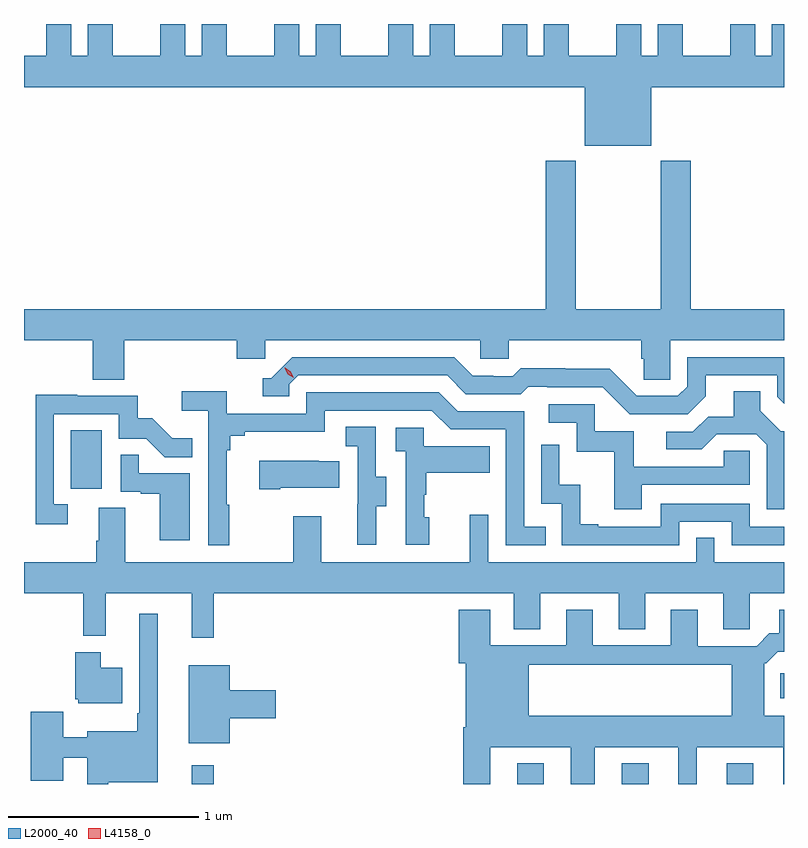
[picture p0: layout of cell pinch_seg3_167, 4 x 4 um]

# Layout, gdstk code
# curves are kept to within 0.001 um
import gdstk
lib = gdstk.Library(unit=1e-6, precision=1e-09)
def R(c, l, rs):  # rectangles x0, y0, x1, y1
    for r in rs: c.add(gdstk.rectangle(r[:2], r[2:], *l))
def A(c, l, x, y, w, h, nx, ny, dx, dy):  # array of equal rectangles
    R(c, l, [(x+i*dx, y+j*dy, x+i*dx+w, y+j*dy+h) for i in range(nx) for j in range(ny)])
def P(c, l, *ps):  # polygons
    for p in ps: c.add(gdstk.Polygon(p, *l))
L2000_40 = (2000, 40)
L4158_0 = (4158, 0)

pinch_seg3_167 = lib.new_cell('pinch_seg3_167')
A(pinch_seg3_167, L2000_40, 1107.839, 706.572, 0.14, 0.109, 3, 1, 0.552, 0)
R(pinch_seg3_167, L2000_40, [(1106.126,706.572,1106.243,706.672), (1109.225,707.024,1109.244,707.154), (1105.49,708.126,1105.654,708.433)])
P(pinch_seg3_167, L2000_40, [(1108.546,710.24),(1109.244,710.24),(1109.244,710.572),(1109.18,710.572),(1109.18,710.404),(1109.092,710.404),(1109.092,710.572),(1108.961,710.572),(1108.961,710.404),(1108.711,710.404),(1108.711,710.572),(1108.58,710.572),(1108.58,710.404),(1108.492,710.404),(1108.492,710.572),(1108.361,710.572),(1108.361,710.404),(1108.111,710.404),(1108.111,710.572),(1107.98,710.572),(1107.98,710.404),(1107.892,710.404),(1107.892,710.572),(1107.761,710.572),(1107.761,710.404),(1107.511,710.404),(1107.511,710.572),(1107.38,710.572),(1107.38,710.404),(1107.292,710.404),(1107.292,710.572),(1107.161,710.572),(1107.161,710.404),(1106.911,710.404),(1106.911,710.572),(1106.78,710.572),(1106.78,710.404),(1106.692,710.404),(1106.692,710.572),(1106.561,710.572),(1106.561,710.404),(1106.311,710.404),(1106.311,710.572),(1106.18,710.572),(1106.18,710.404),(1106.092,710.404),(1106.092,710.572),(1105.961,710.572),(1105.961,710.404),(1105.711,710.404),(1105.711,710.572),(1105.58,710.572),(1105.58,710.404),(1105.492,710.404),(1105.492,710.572),(1105.361,710.572),(1105.361,710.404),(1105.244,710.404),(1105.244,710.24),(1108.196,710.24),(1108.196,709.931),(1108.546,709.931)],
  [(1105.772,708.908),(1106.363,708.908),(1106.363,708.81),(1106.514,708.81),(1106.514,708.908),(1107.645,708.908),(1107.645,708.81),(1107.795,708.81),(1107.795,708.908),(1108.493,708.908),(1108.493,708.81),(1108.507,708.81),(1108.507,708.7),(1108.644,708.7),(1108.644,708.908),(1109.244,708.908),(1109.244,709.072),(1108.754,709.072),(1108.754,709.852),(1108.594,709.852),(1108.594,709.072),(1108.149,709.072),(1108.149,709.852),(1107.989,709.852),(1107.989,709.072),(1105.244,709.072),(1105.244,708.908),(1105.607,708.908),(1105.607,708.7),(1105.772,708.7)],
  [(1108.831,708.613),(1108.831,708.723),(1109.208,708.723),(1109.208,708.609),(1109.244,708.573),(1109.244,708.819),(1108.734,708.819),(1108.734,708.663),(1108.686,708.615),(1108.47,708.615),(1108.328,708.757),(1108.092,708.757),(1108.092,708.76),(1107.859,708.76),(1107.817,708.717),(1107.714,708.717),(1107.714,708.72),(1107.607,708.72),(1107.508,708.819),(1106.655,708.819),(1106.544,708.708),(1106.501,708.708),(1106.501,708.612),(1106.64,708.612),(1106.64,708.675),(1106.688,708.723),(1107.471,708.723),(1107.57,708.624),(1107.859,708.624),(1107.898,708.663),(1107.997,708.663),(1107.997,708.66),(1108.29,708.66),(1108.431,708.519),(1108.737,708.519)],
  [(1106.323,708.041),(1106.311,708.041),(1106.311,708.329),(1106.33,708.329),(1106.33,708.406),(1106.407,708.406),(1106.407,708.425),(1106.826,708.425),(1106.826,708.537),(1107.39,708.537),(1107.489,708.438),(1107.78,708.438),(1107.78,707.829),(1107.989,707.829),(1107.989,707.925),(1107.876,707.925),(1107.876,708.534),(1107.526,708.534),(1107.427,708.633),(1106.73,708.633),(1106.73,708.522),(1106.312,708.522),(1106.312,708.638),(1106.073,708.638),(1106.073,708.536),(1106.214,708.536),(1106.214,707.829),(1106.323,707.829)],
  [(1109.244,708.429),(1109.226,708.429),(1109.119,708.536),(1109.119,708.638),(1108.979,708.638),(1108.979,708.506),(1108.844,708.506),(1108.764,708.426),(1108.623,708.426),(1108.623,708.333),(1108.81,708.333),(1108.891,708.414),(1109.097,708.414),(1109.154,708.357),(1109.154,708.018),(1109.244,708.018)],
  [(1105.474,708.045),(1105.401,708.045),(1105.401,708.519),(1105.743,708.519),(1105.743,708.39),(1105.887,708.39),(1105.985,708.292),(1106.129,708.292),(1106.129,708.391),(1106.025,708.391),(1105.918,708.498),(1105.842,708.498),(1105.842,708.615),(1105.523,708.615),(1105.523,708.62),(1105.305,708.62),(1105.305,707.94),(1105.474,707.94)],
  [(1108.495,708.147),(1109.064,708.147),(1109.064,708.327),(1108.927,708.327),(1108.927,708.243),(1108.453,708.243),(1108.453,708.429),(1108.248,708.429),(1108.248,708.57),(1108.005,708.57),(1108.005,708.474),(1108.152,708.474),(1108.152,708.321),(1108.351,708.321),(1108.351,708.018),(1108.495,708.018)],
  [(1107.097,708.034),(1107.151,708.034),(1107.151,708.189),(1107.096,708.189),(1107.096,708.452),(1106.937,708.452),(1106.937,708.349),(1107,708.349),(1107,708.045),(1106.999,708.045),(1106.999,707.832),(1107.097,707.832)],
  [(1107.376,707.976),(1107.351,707.976),(1107.351,708.095),(1107.361,708.095),(1107.361,708.209),(1107.695,708.209),(1107.695,708.349),(1107.348,708.349),(1107.348,708.447),(1107.201,708.447),(1107.201,708.323),(1107.252,708.323),(1107.252,707.832),(1107.376,707.832)],
  [(1108.692,707.952),(1108.968,707.952),(1108.968,707.829),(1109.244,707.829),(1109.244,707.925),(1109.064,707.925),(1109.064,708.048),(1108.596,708.048),(1108.596,707.925),(1108.267,707.925),(1108.267,707.938),(1108.172,707.938),(1108.172,708.146),(1108.062,708.146),(1108.062,708.358),(1107.966,708.358),(1107.966,708.048),(1108.074,708.048),(1108.074,707.829),(1108.692,707.829)],
  [(1106.116,708.207),(1105.847,708.207),(1105.847,708.305),(1105.752,708.305),(1105.752,708.111),(1105.859,708.111),(1105.859,708.099),(1105.958,708.099),(1105.958,707.856),(1106.116,707.856)],
  [(1106.593,708.131),(1106.903,708.131),(1106.903,708.271),(1106.795,708.271),(1106.795,708.274),(1106.481,708.274),(1106.481,708.124),(1106.593,708.124)],
  [(1106.243,707.576),(1107.821,707.576),(1107.821,707.386),(1107.961,707.386),(1107.961,707.576),(1108.373,707.576),(1108.373,707.386),(1108.513,707.386),(1108.513,707.576),(1108.925,707.576),(1108.925,707.386),(1109.064,707.386),(1109.064,707.576),(1109.244,707.576),(1109.244,707.74),(1108.878,707.74),(1108.878,707.867),(1108.782,707.867),(1108.782,707.74),(1107.687,707.74),(1107.687,707.989),(1107.59,707.989),(1107.59,707.74),(1106.809,707.74),(1106.809,707.98),(1106.662,707.98),(1106.662,707.74),(1105.777,707.74),(1105.777,708.026),(1105.637,708.026),(1105.637,707.852),(1105.625,707.852),(1105.625,707.74),(1105.244,707.74),(1105.244,707.576),(1105.555,707.576),(1105.555,707.351),(1105.673,707.351),(1105.673,707.576),(1106.126,707.576),(1106.126,707.343),(1106.243,707.343)],
  [(1107.557,706.87),(1107.557,706.572),(1107.697,706.572),(1107.697,706.766),(1108.121,706.766),(1108.121,706.572),(1108.249,706.572),(1108.249,706.766),(1108.688,706.766),(1108.688,706.572),(1108.786,706.572),(1108.786,706.766),(1109.24,706.766),(1109.24,706.572),(1109.244,706.572),(1109.244,706.93),(1109.14,706.93),(1109.14,707.208),(1109.151,707.208),(1109.21,707.267),(1109.244,707.267),(1109.244,707.488),(1109.219,707.488),(1109.219,707.365),(1109.167,707.365),(1109.1,707.298),(1108.789,707.298),(1108.789,707.488),(1108.649,707.488),(1108.649,707.301),(1108.237,707.301),(1108.237,707.488),(1108.097,707.488),(1108.097,707.301),(1107.697,707.301),(1107.697,707.488),(1107.533,707.488),(1107.533,707.208),(1107.569,707.208),(1107.569,706.93),(1107.901,706.93),(1107.901,707.2),(1108.97,707.2),(1108.97,706.93),(1107.569,706.93),(1107.569,706.87)],
  [(1105.687,706.58),(1105.948,706.58),(1105.948,707.467),(1105.851,707.467),(1105.851,706.945),(1105.839,706.945),(1105.839,706.849),(1105.577,706.849),(1105.577,706.819),(1105.45,706.819),(1105.45,706.951),(1105.28,706.951),(1105.28,706.59),(1105.45,706.59),(1105.45,706.71),(1105.578,706.71),(1105.578,706.572),(1105.687,706.572)],
  [(1105.762,707.185),(1105.648,707.185),(1105.648,707.266),(1105.514,707.266),(1105.514,707.019),(1105.53,707.019),(1105.53,706.997),(1105.762,706.997)],
  [(1106.326,706.919),(1106.569,706.919),(1106.569,707.066),(1106.326,707.066),(1106.326,707.197),(1106.111,707.197),(1106.111,706.787),(1106.326,706.787)])
P(pinch_seg3_167, L4158_0, [(1106.663,708.709),(1106.633,708.729),(1106.617,708.761),(1106.617,708.762),(1106.618,708.762),(1106.648,708.742),(1106.664,708.709),(1106.664,708.709)])

lib.write_gds('pinch_seg3_167.gds')
